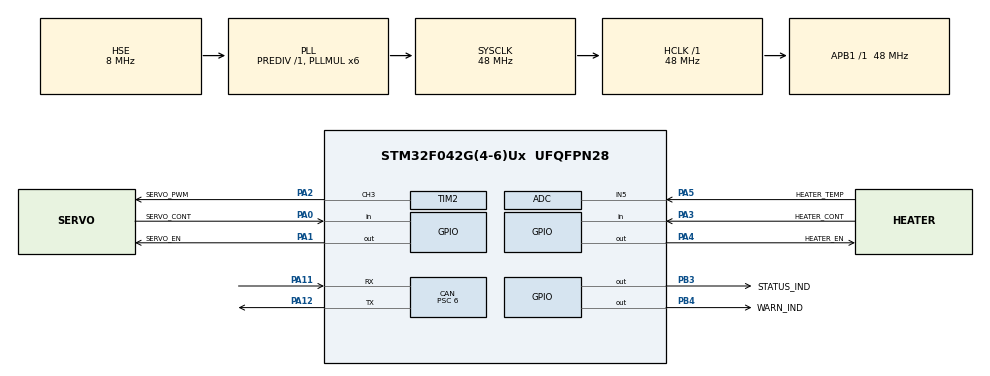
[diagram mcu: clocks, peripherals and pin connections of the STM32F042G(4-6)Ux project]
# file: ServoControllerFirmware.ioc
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ADC.DMAContinuousRequests=ENABLE
ADC.SamplingTime=ADC_SAMPLETIME_71CYCLES_5
CAN.BS1=CAN_BS1_13TQ
CAN.BS2=CAN_BS2_2TQ
CAN.CalculateBaudRate=500000
CAN.CalculateTimeBit=2000
CAN.CalculateTimeQuantum=125.0
CAN.Prescaler=6
Dma.ADC.0.Direction=DMA_PERIPH_TO_MEMORY
Dma.ADC.0.Instance=DMA1_Channel1
Dma.ADC.0.MemDataAlignment=DMA_MDATAALIGN_HALFWORD
Dma.ADC.0.MemInc=DMA_MINC_ENABLE
Dma.ADC.0.Mode=DMA_CIRCULAR
Dma.ADC.0.PeriphDataAlignment=DMA_PDATAALIGN_HALFWORD
Dma.ADC.0.PeriphInc=DMA_PINC_DISABLE
Dma.ADC.0.Priority=DMA_PRIORITY_LOW
Dma.Request0=ADC
Mcu.Family=STM32F0
Mcu.Name=STM32F042G(4-6)Ux
Mcu.Package=UFQFPN28
NVIC.CEC_CAN_IRQn=true\:1\:0\:true\:false\:true\:true\:true\:true
NVIC.DMA1_Channel1_IRQn=true\:0\:0\:false\:false\:true\:false\:true\:true
NVIC.TIM14_IRQn=true\:3\:0\:true\:false\:true\:true\:true\:true
PA0.GPIO_Label=SERVO_CONT
PA0.Signal=GPIO_Input
PA1.GPIO_Label=SERVO_EN
PA1.Signal=GPIO_Output
PA11.Mode=CAN_Activate
PA11.Signal=CAN_RX
PA12.Mode=CAN_Activate
PA12.Signal=CAN_TX
PA13.Mode=Serial_Wire
PA13.Signal=SYS_SWDIO
PA14.Mode=Serial_Wire
PA14.Signal=SYS_SWCLK
PA2.GPIO_Label=SERVO_PWM
PA2.Signal=S_TIM2_CH3
PA3.GPIO_Label=HEATER_CONT
PA3.Signal=GPIO_Input
PA4.GPIO_Label=HEATER_EN
PA4.Signal=GPIO_Output
PA5.GPIO_Label=HEATER_TEMP
PA5.Mode=IN5
PA5.Signal=ADC_IN5
PB3.GPIO_Label=STATUS_IND
PB3.Signal=GPIO_Output
PB4.GPIO_Label=WARN_IND
PB4.Signal=GPIO_Output
PF0-OSC_IN.Mode=HSE-External-Oscillator
PF0-OSC_IN.Signal=RCC_OSC_IN
PF1-OSC_OUT.Mode=HSE-External-Oscillator
PF1-OSC_OUT.Signal=RCC_OSC_OUT
ProjectManager.HeapSize=0x400
ProjectManager.StackSize=0x800
ProjectManager.TargetToolchain=STM32CubeIDE
RCC.AHBFreq_Value=48000000
RCC.APB1Freq_Value=48000000
RCC.APB1TimFreq_Value=48000000
RCC.HCLKFreq_Value=48000000
RCC.PLLMUL=RCC_PLL_MUL6
RCC.PLLSourceVirtual=RCC_PLLSOURCE_HSE
RCC.SYSCLKFreq_VALUE=48000000
RCC.SYSCLKSource=RCC_SYSCLKSOURCE_PLLCLK
SH.S_TIM2_CH3.0=TIM2_CH3,PWM Generation3 CH3
TIM14.Period=47999
TIM14.Prescaler=99
TIM2.Channel-PWM\ Generation3\ CH3=TIM_CHANNEL_3
TIM2.Period=159999
TIM2.Prescaler=5
VP_SYS_VS_PINREMAP.Mode=PINREMAP
VP_TIM14_VS_ClockSourceINT.Mode=Enable_Timer
VP_TIM16_VS_ClockSourceINT.Mode=Enable_Timer
VP_TIM2_VS_ClockSourceINT.Mode=Internal
board=custom

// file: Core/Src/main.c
/* USER CODE BEGIN Header */
/**
  ******************************************************************************
  * @file           : main.c
  * @brief          : Main program body
  ******************************************************************************
  * @attention
  *
  * Copyright (c) 2024 STMicroelectronics.
  * All rights reserved.
  *
  * This software is licensed under terms that can be found in the LICENSE file
  * in the root directory of this software component.
  * If no LICENSE file comes with this software, it is provided AS-IS.
  *
  ******************************************************************************
  */
/* USER CODE END Header */
#include "main.h"

/* USER CODE BEGIN Includes */
#include "stdbool.h"
#include "can_utils.h"
#include "servo_utils.h"
#include "board_utils.h"
#include "heater_utils.h"
/* USER CODE END Includes */

/* USER CODE BEGIN PD */
// Min and max setpoints for active heater control loop
#define HEATER_MIN 90.0f
#define HEATER_MAX 95.0f
/* USER CODE END PD */

ADC_HandleTypeDef hadc;
DMA_HandleTypeDef hdma_adc;

CAN_HandleTypeDef hcan;

TIM_HandleTypeDef htim2;
TIM_HandleTypeDef htim14;
TIM_HandleTypeDef htim16;

/* USER CODE BEGIN PV */
uint32_t adc_val = 0;
float heater_temp = 0.0f;
/* USER CODE END PV */

void SystemClock_Config(void);
static void MX_GPIO_Init(void);
static void MX_DMA_Init(void);
static void MX_CAN_Init(void);
static void MX_TIM14_Init(void);
static void MX_TIM16_Init(void);
static void MX_TIM2_Init(void);
static void MX_ADC_Init(void);

int main(void)
{

  /* MCU Configuration--------------------------------------------------------*/

  /* Reset of all peripherals, Initializes the Flash interface and the Systick. */
  HAL_Init();

  /* Configure the system clock */
  SystemClock_Config();

  /* Initialize all configured peripherals */
  MX_GPIO_Init();
  MX_DMA_Init();
  MX_CAN_Init();
  MX_TIM14_Init();
  MX_TIM16_Init();
  MX_TIM2_Init();
  MX_ADC_Init();
  /* USER CODE BEGIN 2 */
  CAN_FilterTypeDef filter;
  filter.FilterMaskIdHigh = 0x0;
  filter.FilterMaskIdLow = 0x0;
  filter.FilterMode = CAN_FILTERMODE_IDMASK;
  filter.FilterBank = 0;
  filter.FilterScale = CAN_FILTERSCALE_32BIT;
  filter.FilterFIFOAssignment = CAN_FILTER_FIFO0;
  filter.FilterActivation = CAN_FILTER_ENABLE;
  if (HAL_CAN_ConfigFilter(&hcan, &filter) != HAL_OK) {
      Error_Handler();
  }
//  if (HAL_CAN_ActivateNotification(&hcan, CAN_IT_RX_FIFO0_MSG_PENDING)) {
//    Error_Handler();
//  };

  if (HAL_CAN_Start(&hcan) != HAL_OK) {
      Error_Handler();
  }

  HAL_ADCEx_Calibration_Start(&hadc);
  HAL_ADC_Start_DMA(&hadc,(uint32_t*)&adc_val,1);

  HAL_TIM_Base_Start_IT(&htim14);
  /* USER CODE END 2 */

  /* Infinite loop */
  while (1)
  {

  }
}

void SystemClock_Config(void)
{
  RCC_OscInitTypeDef RCC_OscInitStruct = {0};
  RCC_ClkInitTypeDef RCC_ClkInitStruct = {0};

  /** Initializes the RCC Oscillators according to the specified parameters
  * in the RCC_OscInitTypeDef structure.
  */
  RCC_OscInitStruct.OscillatorType = RCC_OSCILLATORTYPE_HSI14|RCC_OSCILLATORTYPE_HSE;
  RCC_OscInitStruct.HSEState = RCC_HSE_ON;
  RCC_OscInitStruct.HSI14State = RCC_HSI14_ON;
  RCC_OscInitStruct.HSI14CalibrationValue = 16;
  RCC_OscInitStruct.PLL.PLLState = RCC_PLL_ON;
  RCC_OscInitStruct.PLL.PLLSource = RCC_PLLSOURCE_HSE;
  RCC_OscInitStruct.PLL.PLLMUL = RCC_PLL_MUL6;
  RCC_OscInitStruct.PLL.PREDIV = RCC_PREDIV_DIV1;
  if (HAL_RCC_OscConfig(&RCC_OscInitStruct) != HAL_OK)
  {
    Error_Handler();
  }

  /** Initializes the CPU, AHB and APB buses clocks
  */
  RCC_ClkInitStruct.ClockType = RCC_CLOCKTYPE_HCLK|RCC_CLOCKTYPE_SYSCLK
                              |RCC_CLOCKTYPE_PCLK1;
  RCC_ClkInitStruct.SYSCLKSource = RCC_SYSCLKSOURCE_PLLCLK;
  RCC_ClkInitStruct.AHBCLKDivider = RCC_SYSCLK_DIV1;
  RCC_ClkInitStruct.APB1CLKDivider = RCC_HCLK_DIV1;

  if (HAL_RCC_ClockConfig(&RCC_ClkInitStruct, FLASH_LATENCY_1) != HAL_OK)
  {
    Error_Handler();
  }
}

static void MX_ADC_Init(void)
{

  ADC_ChannelConfTypeDef sConfig = {0};

  /** Configure the global features of the ADC (Clock, Resolution, Data Alignment and number of conversion)
  */
  hadc.Instance = ADC1;
  hadc.Init.ClockPrescaler = ADC_CLOCK_ASYNC_DIV1;
  hadc.Init.Resolution = ADC_RESOLUTION_12B;
  hadc.Init.DataAlign = ADC_DATAALIGN_RIGHT;
  hadc.Init.ScanConvMode = ADC_SCAN_DIRECTION_FORWARD;
  hadc.Init.EOCSelection = ADC_EOC_SINGLE_CONV;
  hadc.Init.LowPowerAutoWait = DISABLE;
  hadc.Init.LowPowerAutoPowerOff = DISABLE;
  hadc.Init.ContinuousConvMode = DISABLE;
  hadc.Init.DiscontinuousConvMode = DISABLE;
  hadc.Init.ExternalTrigConv = ADC_SOFTWARE_START;
  hadc.Init.ExternalTrigConvEdge = ADC_EXTERNALTRIGCONVEDGE_NONE;
  hadc.Init.DMAContinuousRequests = ENABLE;
  hadc.Init.Overrun = ADC_OVR_DATA_PRESERVED;
  if (HAL_ADC_Init(&hadc) != HAL_OK)
  {
    Error_Handler();
  }

  /** Configure for the selected ADC regular channel to be converted.
  */
  sConfig.Channel = ADC_CHANNEL_5;
  sConfig.Rank = ADC_RANK_CHANNEL_NUMBER;
  sConfig.SamplingTime = ADC_SAMPLETIME_71CYCLES_5;
  if (HAL_ADC_ConfigChannel(&hadc, &sConfig) != HAL_OK)
  {
    Error_Handler();
  }

}

static void MX_CAN_Init(void)
{

  hcan.Instance = CAN;
  hcan.Init.Prescaler = 6;
  hcan.Init.Mode = CAN_MODE_NORMAL;
  hcan.Init.SyncJumpWidth = CAN_SJW_1TQ;
  hcan.Init.TimeSeg1 = CAN_BS1_13TQ;
  hcan.Init.TimeSeg2 = CAN_BS2_2TQ;
  hcan.Init.TimeTriggeredMode = DISABLE;
  hcan.Init.AutoBusOff = DISABLE;
  hcan.Init.AutoWakeUp = DISABLE;
  hcan.Init.AutoRetransmission = DISABLE;
  hcan.Init.ReceiveFifoLocked = DISABLE;
  hcan.Init.TransmitFifoPriority = DISABLE;
  if (HAL_CAN_Init(&hcan) != HAL_OK)
  {
    Error_Handler();
  }

}

static void MX_TIM2_Init(void)
{

  TIM_ClockConfigTypeDef sClockSourceConfig = {0};
  TIM_MasterConfigTypeDef sMasterConfig = {0};
  TIM_OC_InitTypeDef sConfigOC = {0};

  htim2.Instance = TIM2;
  htim2.Init.Prescaler = 5;
  htim2.Init.CounterMode = TIM_COUNTERMODE_UP;
  htim2.Init.Period = 159999;
  htim2.Init.ClockDivision = TIM_CLOCKDIVISION_DIV1;
  htim2.Init.AutoReloadPreload = TIM_AUTORELOAD_PRELOAD_DISABLE;
  if (HAL_TIM_Base_Init(&htim2) != HAL_OK)
  {
    Error_Handler();
  }
  sClockSourceConfig.ClockSource = TIM_CLOCKSOURCE_INTERNAL;
  if (HAL_TIM_ConfigClockSource(&htim2, &sClockSourceConfig) != HAL_OK)
  {
    Error_Handler();
  }
  if (HAL_TIM_PWM_Init(&htim2) != HAL_OK)
  {
    Error_Handler();
  }
  sMasterConfig.MasterOutputTrigger = TIM_TRGO_RESET;
  sMasterConfig.MasterSlaveMode = TIM_MASTERSLAVEMODE_DISABLE;
  if (HAL_TIMEx_MasterConfigSynchronization(&htim2, &sMasterConfig) != HAL_OK)
  {
    Error_Handler();
  }
  sConfigOC.OCMode = TIM_OCMODE_PWM1;
  sConfigOC.Pulse = 0;
  sConfigOC.OCPolarity = TIM_OCPOLARITY_HIGH;
  sConfigOC.OCFastMode = TIM_OCFAST_DISABLE;
  if (HAL_TIM_PWM_ConfigChannel(&htim2, &sConfigOC, TIM_CHANNEL_3) != HAL_OK)
  {
    Error_Handler();
  }
  HAL_TIM_MspPostInit(&htim2);

}

static void MX_TIM14_Init(void)
{

  htim14.Instance = TIM14;
  htim14.Init.Prescaler = 99;
  htim14.Init.CounterMode = TIM_COUNTERMODE_UP;
  htim14.Init.Period = 47999;
  htim14.Init.ClockDivision = TIM_CLOCKDIVISION_DIV1;
  htim14.Init.AutoReloadPreload = TIM_AUTORELOAD_PRELOAD_DISABLE;
  if (HAL_TIM_Base_Init(&htim14) != HAL_OK)
  {
    Error_Handler();
  }

}

static void MX_TIM16_Init(void)
{

  htim16.Instance = TIM16;
  htim16.Init.Prescaler = 0;
  htim16.Init.CounterMode = TIM_COUNTERMODE_UP;
  htim16.Init.Period = 65535;
  htim16.Init.ClockDivision = TIM_CLOCKDIVISION_DIV1;
  htim16.Init.RepetitionCounter = 0;
  htim16.Init.AutoReloadPreload = TIM_AUTORELOAD_PRELOAD_DISABLE;
  if (HAL_TIM_Base_Init(&htim16) != HAL_OK)
  {
    Error_Handler();
  }

}

static void MX_DMA_Init(void)
{

  /* DMA controller clock enable */
  __HAL_RCC_DMA1_CLK_ENABLE();

  /* DMA interrupt init */
  /* DMA1_Channel1_IRQn interrupt configuration */
  HAL_NVIC_SetPriority(DMA1_Channel1_IRQn, 0, 0);
  HAL_NVIC_EnableIRQ(DMA1_Channel1_IRQn);

}

static void MX_GPIO_Init(void)
{
  GPIO_InitTypeDef GPIO_InitStruct = {0};

  /* GPIO Ports Clock Enable */
  __HAL_RCC_GPIOF_CLK_ENABLE();
  __HAL_RCC_GPIOA_CLK_ENABLE();
  __HAL_RCC_GPIOB_CLK_ENABLE();

  /*Configure GPIO pin Output Level */
  HAL_GPIO_WritePin(GPIOA, SERVO_EN_Pin|HEATER_EN_Pin, GPIO_PIN_RESET);

  /*Configure GPIO pin Output Level */
  HAL_GPIO_WritePin(GPIOB, STATUS_IND_Pin|WARN_IND_Pin, GPIO_PIN_RESET);

  /*Configure GPIO pins : SERVO_CONT_Pin HEATER_CONT_Pin */
  GPIO_InitStruct.Pin = SERVO_CONT_Pin|HEATER_CONT_Pin;
  GPIO_InitStruct.Mode = GPIO_MODE_INPUT;
  GPIO_InitStruct.Pull = GPIO_NOPULL;
  HAL_GPIO_Init(GPIOA, &GPIO_InitStruct);

  /*Configure GPIO pins : SERVO_EN_Pin HEATER_EN_Pin */
  GPIO_InitStruct.Pin = SERVO_EN_Pin|HEATER_EN_Pin;
  GPIO_InitStruct.Mode = GPIO_MODE_OUTPUT_PP;
  GPIO_InitStruct.Pull = GPIO_NOPULL;
  GPIO_InitStruct.Speed = GPIO_SPEED_FREQ_LOW;
  HAL_GPIO_Init(GPIOA, &GPIO_InitStruct);

  /*Configure GPIO pins : STATUS_IND_Pin WARN_IND_Pin */
  GPIO_InitStruct.Pin = STATUS_IND_Pin|WARN_IND_Pin;
  GPIO_InitStruct.Mode = GPIO_MODE_OUTPUT_PP;
  GPIO_InitStruct.Pull = GPIO_NOPULL;
  GPIO_InitStruct.Speed = GPIO_SPEED_FREQ_LOW;
  HAL_GPIO_Init(GPIOB, &GPIO_InitStruct);

}

/* USER CODE BEGIN 4 */
void HAL_TIM_PeriodElapsedCallback(TIM_HandleTypeDef *htim) {
  if (htim == &htim14) {
    float temp = heater_temp;

    if (temp < HEATER_MIN) {
      Heater_On();
      STATUS_IND_On();
    } else if (temp > HEATER_MAX) {
      Heater_Off();
      STATUS_IND_Off();
    }
  }
}

void HAL_ADC_ConvCpltCallback(ADC_HandleTypeDef* hadc) {
  heater_temp = Get_Temperature(adc_val);
  HAL_ADC_Start_DMA(hadc,(uint32_t*)&adc_val,1);
}

/* USER CODE END 4 */

void Error_Handler(void)
{
  __disable_irq();
  while (1)
  {
  }
}
